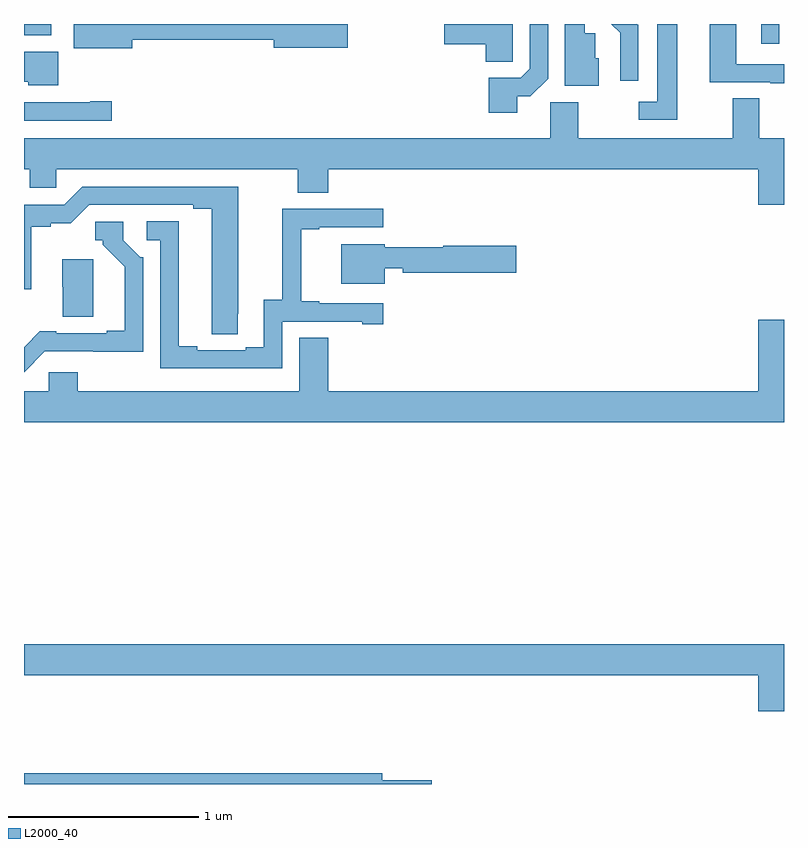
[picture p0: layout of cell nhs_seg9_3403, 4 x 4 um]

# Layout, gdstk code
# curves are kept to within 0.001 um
import gdstk
lib = gdstk.Library(unit=1e-6, precision=1e-09)
def R(c, l, rs):  # rectangles x0, y0, x1, y1
    for r in rs: c.add(gdstk.rectangle(r[:2], r[2:], *l))
def P(c, l, *ps):  # polygons
    for p in ps: c.add(gdstk.Polygon(p, *l))
L2000_40 = (2000, 40)

nhs_seg9_3403 = lib.new_cell('nhs_seg9_3403')
R(nhs_seg9_3403, L2000_40, [(308.879,1214.397,308.976,1214.5), (305,1214.441,305.143,1214.5)])
P(nhs_seg9_3403, L2000_40, [(309,1214.289),(308.748,1214.289),(308.748,1214.5),(308.609,1214.5),(308.609,1214.193),(308.927,1214.193),(308.927,1214.189),(309,1214.189)],
  [(305.569,1214.416),(306.314,1214.416),(306.314,1214.374),(306.703,1214.374),(306.703,1214.5),(305.262,1214.5),(305.262,1214.372),(305.569,1214.372)],
  [(308.232,1214.496),(308.228,1214.5),(308.092,1214.5),(308.138,1214.454),(308.138,1214.202),(308.232,1214.202)],
  [(307.597,1214.119),(307.665,1214.119),(307.758,1214.211),(307.758,1214.5),(307.662,1214.5),(307.662,1214.265),(307.614,1214.217),(307.445,1214.217),(307.445,1214.034),(307.597,1214.034)],
  [(308.437,1214.5),(308.333,1214.5),(308.333,1214.091),(308.235,1214.091),(308.235,1213.995),(308.437,1213.995)],
  [(308.026,1214.319),(308.007,1214.319),(308.007,1214.451),(307.951,1214.451),(307.951,1214.5),(307.847,1214.5),(307.847,1214.174),(308.026,1214.174)],
  [(307.572,1214.41),(307.573,1214.41),(307.573,1214.5),(307.212,1214.5),(307.212,1214.393),(307.43,1214.393),(307.43,1214.302),(307.572,1214.302)],
  [(305.179,1214.353),(305,1214.353),(305,1214.195),(305.022,1214.195),(305.022,1214.177),(305.179,1214.177)],
  [(305,1213.736),(305.031,1213.736),(305.031,1213.638),(305.169,1213.638),(305.169,1213.736),(306.442,1213.736),(306.442,1213.612),(306.602,1213.612),(306.602,1213.736),(308.864,1213.736),(308.864,1213.548),(309,1213.548),(309,1213.9),(308.869,1213.9),(308.869,1214.108),(308.729,1214.108),(308.729,1213.9),(307.917,1213.9),(307.917,1214.089),(307.77,1214.089),(307.77,1213.9),(305,1213.9)],
  [(305.461,1214.093),(305.348,1214.093),(305.348,1214.088),(305,1214.088),(305,1213.992),(305.461,1213.992)],
  [(306.126,1212.976),(306.127,1213.644),(305.307,1213.644),(305.211,1213.548),(305,1213.548),(305,1213.104),(305.038,1213.104),(305.038,1213.432),(305.142,1213.432),(305.142,1213.451),(305.246,1213.451),(305.343,1213.548),(305.891,1213.548),(305.891,1213.528),(305.987,1213.528),(305.987,1212.868),(306.126,1212.868)],
  [(306.36,1212.933),(306.779,1212.933),(306.779,1212.921),(306.892,1212.921),(306.892,1213.029),(306.553,1213.029),(306.553,1213.042),(306.458,1213.042),(306.458,1213.419),(306.553,1213.419),(306.553,1213.431),(306.892,1213.431),(306.892,1213.527),(306.358,1213.527),(306.358,1213.049),(306.263,1213.049),(306.263,1212.798),(306.167,1212.798),(306.167,1212.783),(305.911,1212.783),(305.911,1212.803),(305.815,1212.803),(305.815,1213.463),(305.646,1213.463),(305.646,1213.362),(305.718,1213.362),(305.718,1212.687),(306.36,1212.687)],
  [(305.109,1212.777),(305.628,1212.776),(305.628,1213.272),(305.613,1213.272),(305.523,1213.362),(305.523,1213.458),(305.376,1213.458),(305.376,1213.362),(305.415,1213.362),(305.415,1213.339),(305.531,1213.222),(305.531,1212.886),(305.435,1212.886),(305.435,1212.873),(305.17,1212.873),(305.17,1212.884),(305.084,1212.884),(305,1212.8),(305,1212.668)],
  [(306.898,1213.214),(306.994,1213.214),(306.994,1213.19),(307.591,1213.19),(307.591,1213.332),(307.206,1213.332),(307.206,1213.324),(306.898,1213.324),(306.898,1213.342),(306.671,1213.342),(306.671,1213.133),(306.898,1213.133)],
  [(305.365,1213.261),(305.201,1213.261),(305.201,1213.116),(305.203,1213.116),(305.203,1212.958),(305.365,1212.958)],
  [(309,1212.943),(308.864,1212.943),(308.864,1212.568),(306.602,1212.568),(306.602,1212.848),(306.449,1212.848),(306.449,1212.568),(305.282,1212.568),(305.282,1212.666),(305.13,1212.666),(305.13,1212.568),(305,1212.568),(305,1212.404),(309,1212.404)],
  [(309,1211.236),(305,1211.236),(305,1211.072),(308.864,1211.072),(308.864,1210.884),(309,1210.884)],
  [(307.147,1210.52),(306.886,1210.52),(306.886,1210.556),(305,1210.556),(305,1210.5),(307.147,1210.5)])

lib.write_gds('nhs_seg9_3403.gds')
